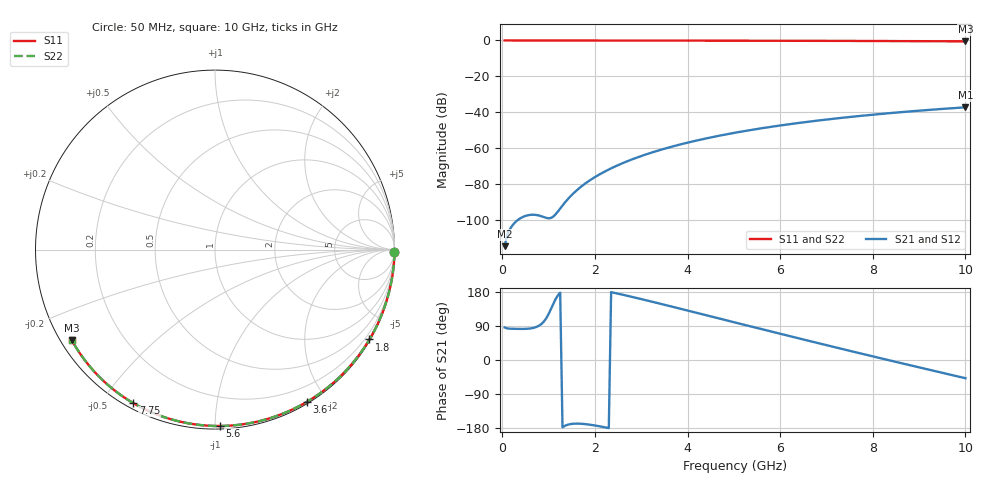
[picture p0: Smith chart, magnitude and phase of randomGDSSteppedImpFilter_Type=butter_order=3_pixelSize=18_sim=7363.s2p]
! freq	dB(S11)	phase(S11)	dB(S12)	phase(S12)
!  dB(S21)	phase(S21)	dB(S22)	phase(S22)
!S-par simulation data
#  GHz  S  DB  R 50
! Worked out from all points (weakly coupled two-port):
!   200 points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, 50 MHz to 10 GHz, reference 50 ohm
!   highest |S21| = -37.23 dB at 10 GHz (marker M1); lowest = -114.6 dB at 50 MHz (marker M2)
!   lowest |S11| = -0.5 dB at 10 GHz (marker M3), VSWR 34.72, Z = 1.56 - j14.5 ohm
!   |S11| at or under -10 dB: nowhere
!   |S22| runs from -0.5 to 0.0 dB; largest |S21 - S12| = 0
!   S11 on the Smith chart (normalised r, x): 50 MHz: open; 1.8 GHz: 0.03, -3.71; 3.6 GHz: 0.02, -1.77; 5.6 GHz: 0.02, -1.03; 7.75 GHz: 0.02, -0.60; 10 GHz: 0.03, -0.29
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0.05  -0.00 -0.9  -114.56 85.9  -114.56 85.9  -0.00 -0.9
0.45  -0.01 -7.7  -98.22 82.0  -98.22 82.0  -0.01 -7.7
0.9  -0.02 -15.2  -98.38 101.7  -98.38 101.7  -0.02 -15.2
1.75  -0.04 -29.4  -80.46 -168.7  -80.46 -168.7  -0.04 -29.4
1.8  -0.04 -30.2  -79.50 -169.3  -79.50 -169.3  -0.04 -30.2
1.95  -0.04 -32.6  -76.89 -171.8  -76.89 -171.8  -0.04 -32.6
2.1  -0.04 -35.1  -74.59 -174.9  -74.59 -174.9  -0.04 -35.1
2.3  -0.05 -38.3  -71.85 -179.7  -71.85 -179.7  -0.05 -38.3
2.5  -0.05 -41.6  -69.43 175.0  -69.43 175.0  -0.05 -41.6
2.9  -0.06 -48.0  -65.29 163.7  -65.29 163.7  -0.06 -48.0
3.4  -0.07 -55.8  -61.05 148.8  -61.05 148.8  -0.07 -55.8
3.6  -0.08 -58.9  -59.57 142.8  -59.57 142.8  -0.08 -58.9
4.3  -0.10 -69.5  -55.12 121.3  -55.12 121.3  -0.10 -69.5
5.05  -0.12 -80.6  -51.28 98.3  -51.28 98.3  -0.12 -80.6
5.6  -0.15 -88.5  -48.90 81.4  -48.90 81.4  -0.15 -88.5
6.15  -0.17 -96.2  -46.81 64.7  -46.81 64.7  -0.17 -96.2
6.7  -0.20 -103.8  -44.96 48.1  -44.96 48.1  -0.20 -103.8
7.2  -0.23 -110.6  -43.46 33.2  -43.46 33.2  -0.23 -110.6
7.75  -0.27 -118.0  -41.97 16.9  -41.97 16.9  -0.27 -118.0
8.35  -0.32 -125.9  -40.51 -0.6  -40.51 -0.6  -0.32 -125.9
9.2  -0.41 -137.1  -38.70 -25.2  -38.70 -25.2  -0.41 -137.1
10  -0.50 -147.7  -37.23 -48.1  -37.23 -48.1  -0.50 -147.7
